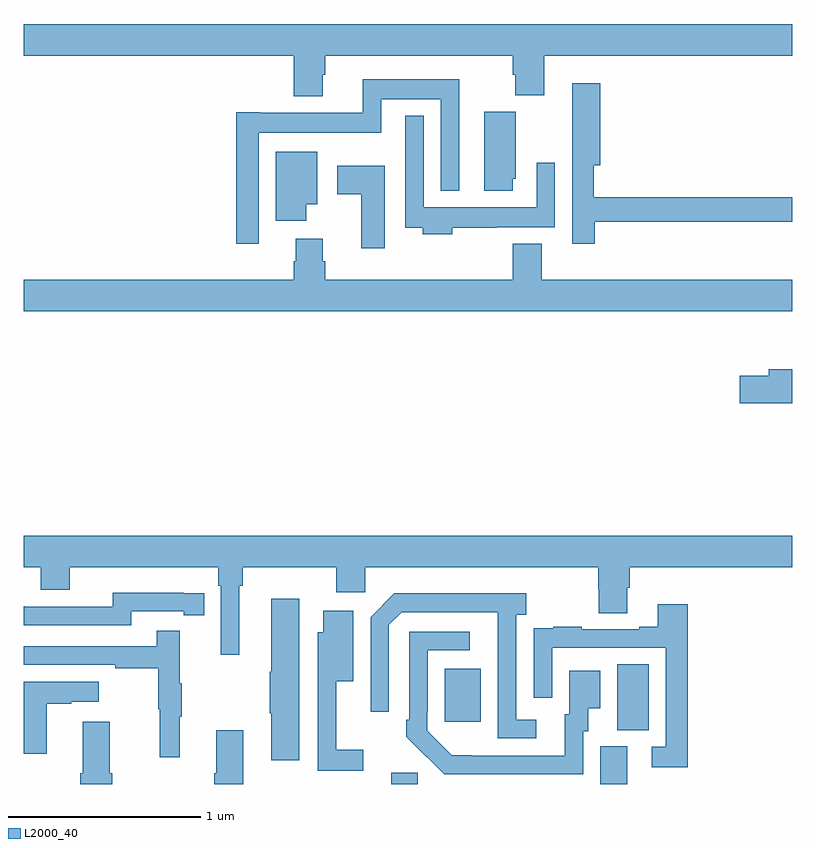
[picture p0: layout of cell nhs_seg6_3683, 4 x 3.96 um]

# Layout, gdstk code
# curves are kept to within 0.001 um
import gdstk
lib = gdstk.Library(unit=1e-6, precision=1e-09)
def R(c, l, rs):  # rectangles x0, y0, x1, y1
    for r in rs: c.add(gdstk.rectangle(r[:2], r[2:], *l))
def P(c, l, *ps):  # polygons
    for p in ps: c.add(gdstk.Polygon(p, *l))
L2000_40 = (2000, 40)

nhs_seg6_3683 = lib.new_cell('nhs_seg6_3683')
R(nhs_seg6_3683, L2000_40, [(326.912,987.5,327.051,987.558), (328.001,987.5,328.141,987.696), (328.088,987.781,328.252,988.124), (327.191,987.825,327.379,988.099)])
P(nhs_seg6_3683, L2000_40, [(326.557,991.191),(326.57,991.191),(326.57,991.292),(327.545,991.292),(327.545,991.193),(327.557,991.193),(327.557,991.084),(327.71,991.084),(327.71,991.292),(329,991.292),(329,991.456),(325,991.456),(325,991.292),(326.405,991.292),(326.405,991.079),(326.557,991.079)],
  [(326.223,990.89),(326.862,990.89),(326.862,991.064),(327.171,991.064),(327.171,990.587),(327.268,990.587),(327.268,991.168),(326.765,991.168),(326.765,990.994),(326.23,990.994),(326.23,990.997),(326.107,990.997),(326.107,990.312),(326.223,990.312)],
  [(327.971,990.426),(329,990.426),(329,990.554),(327.967,990.554),(327.967,990.722),(328.001,990.722),(328.001,991.147),(327.854,991.147),(327.854,990.826),(327.855,990.826),(327.855,990.312),(327.971,990.312)],
  [(327.544,990.651),(327.562,990.651),(327.562,990.999),(327.398,990.999),(327.398,990.588),(327.544,990.588)],
  [(327.23,990.396),(327.461,990.396),(327.461,990.398),(327.765,990.398),(327.765,990.733),(327.669,990.733),(327.669,990.502),(327.081,990.502),(327.081,990.979),(326.985,990.979),(326.985,990.396),(327.077,990.396),(327.077,990.362),(327.23,990.362)],
  [(326.47,990.518),(326.527,990.518),(326.527,990.79),(326.312,990.79),(326.312,990.432),(326.47,990.432)],
  [(326.878,990.718),(326.631,990.718),(326.631,990.571),(326.756,990.571),(326.756,990.288),(326.878,990.288)],
  [(329,990.124),(327.697,990.124),(327.697,990.313),(327.545,990.313),(327.545,990.124),(326.57,990.124),(326.57,990.222),(326.557,990.222),(326.557,990.337),(326.417,990.337),(326.417,990.222),(326.405,990.222),(326.405,990.124),(325,990.124),(325,989.96),(329,989.96)],
  [(329,989.659),(328.877,989.659),(328.877,989.625),(328.728,989.625),(328.728,989.483),(329,989.483)],
  [(326.122,988.532),(326.141,988.532),(326.141,988.628),(326.627,988.628),(326.627,988.497),(326.778,988.497),(326.778,988.628),(327.989,988.628),(327.989,988.515),(327.994,988.515),(327.994,988.39),(328.141,988.39),(328.141,988.522),(328.154,988.522),(328.154,988.628),(329,988.628),(329,988.792),(325,988.792),(325,988.628),(325.088,988.628),(325.088,988.511),(325.24,988.511),(325.24,988.628),(326.012,988.628),(326.012,988.532),(326.025,988.532),(326.025,988.173),(326.122,988.173)],
  [(325.56,988.398),(325.832,988.398),(325.832,988.378),(325.94,988.378),(325.94,988.494),(325.832,988.494),(325.832,988.495),(325.464,988.495),(325.464,988.422),(325.004,988.422),(325.004,988.424),(325,988.424),(325,988.326),(325.56,988.326)],
  [(327.667,987.834),(327.564,987.834),(327.564,988.382),(327.616,988.382),(327.616,988.492),(326.928,988.492),(326.805,988.369),(326.805,987.876),(326.901,987.876),(326.901,988.329),(326.967,988.395),(327.467,988.395),(327.468,987.738),(327.667,987.738)],
  [(326.434,988.465),(326.288,988.465),(326.288,988.085),(326.281,988.085),(326.281,987.868),(326.288,987.868),(326.288,987.624),(326.434,987.624)],
  [(328.457,988.435),(328.301,988.435),(328.301,988.318),(328.205,988.318),(328.205,988.305),(327.905,988.305),(327.905,988.318),(327.757,988.318),(327.757,988.311),(327.655,988.311),(327.655,988.202),(327.654,988.202),(327.654,987.948),(327.75,987.948),(327.75,988.209),(328.341,988.209),(328.341,987.693),(328.269,987.693),(328.269,987.588),(328.457,987.588)],
  [(326.767,987.679),(326.627,987.679),(326.627,988.034),(326.716,988.034),(326.716,988.402),(326.558,988.402),(326.558,988.291),(326.529,988.291),(326.529,987.57),(326.767,987.57)],
  [(325.811,987.851),(325.822,987.851),(325.822,988.025),(325.811,988.025),(325.811,988.297),(325.693,988.297),(325.693,988.218),(325,988.218),(325,988.122),(325.477,988.122),(325.477,988.102),(325.701,988.102),(325.701,987.888),(325.708,987.888),(325.708,987.639),(325.811,987.639)],
  [(327.912,987.774),(327.937,987.774),(327.937,987.893),(328,987.893),(328,988.09),(327.839,988.09),(327.839,987.864),(327.815,987.864),(327.815,987.648),(327.228,987.649),(327.099,987.777),(327.099,987.877),(327.102,987.877),(327.102,988.197),(327.322,988.197),(327.322,988.293),(327.006,988.293),(327.006,987.835),(326.991,987.835),(326.991,987.747),(327.188,987.552),(327.912,987.552)],
  [(325.12,987.919),(325.247,987.919),(325.247,987.929),(325.39,987.929),(325.39,988.033),(325,988.033),(325,987.657),(325.12,987.657)],
  [(325.46,987.556),(325.447,987.556),(325.447,987.823),(325.307,987.823),(325.307,987.556),(325.295,987.556),(325.295,987.5),(325.46,987.5)],
  [(326.143,987.781),(326.003,987.781),(326.003,987.556),(325.991,987.556),(325.991,987.5),(326.143,987.5)])

lib.write_gds('nhs_seg6_3683.gds')
